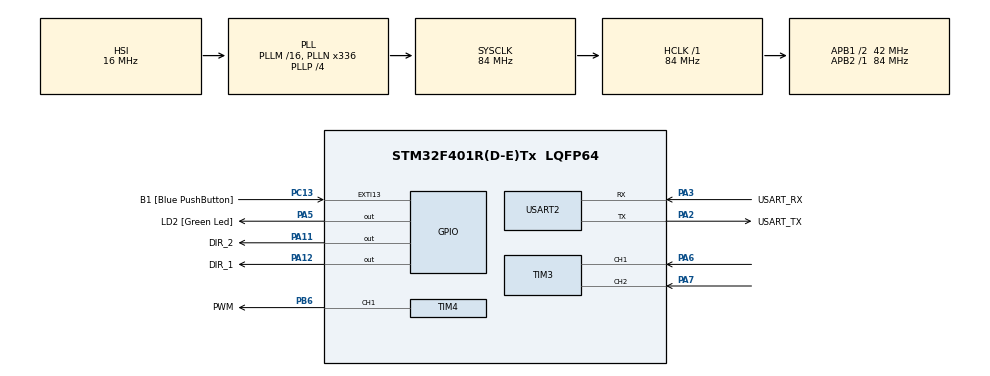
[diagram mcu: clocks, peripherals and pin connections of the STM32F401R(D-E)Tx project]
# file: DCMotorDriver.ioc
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Mcu.Family=STM32F4
Mcu.Name=STM32F401R(D-E)Tx
Mcu.Package=LQFP64
NVIC.PriorityGroup=NVIC_PRIORITYGROUP_0
PA11.GPIO_Label=DIR_2
PA11.Signal=GPIO_Output
PA12.GPIO_Label=DIR_1
PA12.Signal=GPIO_Output
PA13.GPIO_Label=TMS
PA13.Signal=SYS_JTMS-SWDIO
PA14.GPIO_Label=TCK
PA14.Signal=SYS_JTCK-SWCLK
PA2.GPIO_Label=USART_TX
PA2.GPIO_Mode=GPIO_MODE_AF_PP
PA2.GPIO_PuPd=GPIO_NOPULL
PA2.GPIO_Speed=GPIO_SPEED_FREQ_LOW
PA2.Mode=Asynchronous
PA2.Signal=USART2_TX
PA3.GPIO_Label=USART_RX
PA3.GPIO_Mode=GPIO_MODE_AF_PP
PA3.GPIO_PuPd=GPIO_NOPULL
PA3.GPIO_Speed=GPIO_SPEED_FREQ_LOW
PA3.Mode=Asynchronous
PA3.Signal=USART2_RX
PA5.GPIO_Label=LD2 [Green Led]
PA5.GPIO_Mode=GPIO_MODE_OUTPUT_PP
PA5.GPIO_PuPd=GPIO_NOPULL
PA5.GPIO_Speed=GPIO_SPEED_FREQ_LOW
PA5.Signal=GPIO_Output
PA6.Signal=S_TIM3_CH1
PA7.Signal=S_TIM3_CH2
PB3.GPIO_Label=SWO
PB3.Signal=SYS_JTDO-SWO
PB6.GPIO_Label=PWM
PB6.Signal=S_TIM4_CH1
PC13-ANTI_TAMP.GPIO_Label=B1 [Blue PushButton]
PC13-ANTI_TAMP.GPIO_ModeDefaultEXTI=GPIO_MODE_IT_FALLING
PC13-ANTI_TAMP.GPIO_PuPd=GPIO_NOPULL
PC13-ANTI_TAMP.Signal=GPXTI13
PC14-OSC32_IN.Signal=RCC_OSC32_IN
PC15-OSC32_OUT.Signal=RCC_OSC32_OUT
PH0\ -\ OSC_IN.Signal=RCC_OSC_IN
PH1\ -\ OSC_OUT.Signal=RCC_OSC_OUT
ProjectManager.HeapSize=0x200
ProjectManager.StackSize=0x400
ProjectManager.TargetToolchain=STM32CubeIDE
RCC.AHBFreq_Value=84000000
RCC.APB1CLKDivider=RCC_HCLK_DIV2
RCC.APB1Freq_Value=42000000
RCC.APB1TimFreq_Value=84000000
RCC.APB2Freq_Value=84000000
RCC.APB2TimFreq_Value=84000000
RCC.CortexFreq_Value=84000000
RCC.HCLKFreq_Value=84000000
RCC.HSE_VALUE=8000000
RCC.HSI_VALUE=16000000
RCC.LSE_VALUE=32768
RCC.PLLN=336
RCC.PLLP=RCC_PLLP_DIV4
RCC.PLLQ=7
RCC.SYSCLKFreq_VALUE=84000000
RCC.SYSCLKSource=RCC_SYSCLKSOURCE_PLLCLK
RCC.VCOOutputFreq_Value=336000000
SH.S_TIM3_CH1.0=TIM3_CH1,Encoder_Interface
SH.S_TIM3_CH2.0=TIM3_CH2,Encoder_Interface
SH.S_TIM4_CH1.0=TIM4_CH1,PWM Generation1 CH1
TIM4.Channel-PWM\ Generation1\ CH1=TIM_CHANNEL_1
TIM4.Period=4096
USART2.VirtualMode=VM_ASYNC
VP_TIM4_VS_ClockSourceINT.Mode=Internal
board=NUCLEO-F401RE

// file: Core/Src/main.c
/* USER CODE BEGIN Header */
/**
  ******************************************************************************
  * @file           : main.c
  * @brief          : Main program body
  ******************************************************************************
  * @attention
  *
  * Copyright (c) 2024 STMicroelectronics.
  * All rights reserved.
  *
  * This software is licensed under terms that can be found in the LICENSE file
  * in the root directory of this software component.
  * If no LICENSE file comes with this software, it is provided AS-IS.
  *
  ******************************************************************************
  */
/* USER CODE END Header */
#include "main.h"

/* USER CODE BEGIN Includes */
#include <stdio.h>
#include <string.h>
#include "motor.h"
#include "pid.h"
/* USER CODE END Includes */

TIM_HandleTypeDef htim3;
TIM_HandleTypeDef htim4;

UART_HandleTypeDef huart2;

void SystemClock_Config(void);
static void MX_GPIO_Init(void);
static void MX_TIM4_Init(void);
static void MX_USART2_UART_Init(void);
static void MX_TIM3_Init(void);

int main(void)
{

  /* MCU Configuration--------------------------------------------------------*/

  /* Reset of all peripherals, Initializes the Flash interface and the Systick. */
  HAL_Init();

  /* Configure the system clock */
  SystemClock_Config();

  /* Initialize all configured peripherals */
  MX_GPIO_Init();
  MX_TIM4_Init();
  MX_USART2_UART_Init();
  MX_TIM3_Init();
  /* USER CODE BEGIN 2 */
  HAL_TIM_PWM_Start(&htim4, TIM_CHANNEL_1);
  HAL_TIM_Encoder_Start(&htim3, TIM_CHANNEL_ALL);

  /* USER CODE END 2 */

  /* Infinite loop */
  /* USER CODE BEGIN WHILE */

  int pwm = 0;
  uint32_t prev_tick = HAL_GetTick();
  float speed_target = 360;
  float pos_target = 180;
  t_pid speed_pid, pos_pid;

  pid_init(&speed_pid, 10, 20, 0, 4095);
  pid_init(&pos_pid, 50, 0, 0, 720); // vmax = 720 deg/s

  HAL_Delay(10);

  while (1)
  {
	  char s[256],c;
	  float pos, speed;

	  // compute sampling interval
	  uint32_t current_tick = HAL_GetTick();
	  float delta_t = (current_tick - prev_tick) / 1000.0;
	  prev_tick = current_tick;

	  read_sensors(delta_t, &speed, &pos);

	  speed_target = pid_evaluate(&pos_pid, delta_t, pos_target, pos);
	  pwm = pid_evaluate(&speed_pid, delta_t, speed_target, speed);
	  set_pwm(pwm);

	  sprintf(s, "Delta_t = %f, PWM = %d, Count = %d, Speed = %f, Target Speed = %f, Pos = %f, Target Pos = %f\n\r",
			  delta_t, pwm, read_encoder(), speed, speed_target, pos, pos_target);
	  HAL_UART_Transmit(&huart2, (const uint8_t *)s, strlen(s),1000);

	  if (HAL_UART_Receive(&huart2, (uint8_t *)&c, 1, 1) == HAL_OK) {
		  switch (c) {
		  case '+':
			  //pwm += 50;
			  speed_target += 50;
			  break;
		  case '-':
			  speed_target -= 50;
			  //pwm-= 50;
			  break;
		  case ' ':
			  if (speed_target != 0)
				  speed_target = 0;
			  else
				  speed_target = 360;
			  break;
		  case 't':
			  if (pos_target != 0)
				  pos_target = 0;
			  else
				  pos_target = 180;
			  break;
		  }
	  }
    /* USER CODE END WHILE */

  }
}

void SystemClock_Config(void)
{
  RCC_OscInitTypeDef RCC_OscInitStruct = {0};
  RCC_ClkInitTypeDef RCC_ClkInitStruct = {0};

  /** Configure the main internal regulator output voltage
  */
  __HAL_RCC_PWR_CLK_ENABLE();
  __HAL_PWR_VOLTAGESCALING_CONFIG(PWR_REGULATOR_VOLTAGE_SCALE2);

  /** Initializes the RCC Oscillators according to the specified parameters
  * in the RCC_OscInitTypeDef structure.
  */
  RCC_OscInitStruct.OscillatorType = RCC_OSCILLATORTYPE_HSI;
  RCC_OscInitStruct.HSIState = RCC_HSI_ON;
  RCC_OscInitStruct.HSICalibrationValue = RCC_HSICALIBRATION_DEFAULT;
  RCC_OscInitStruct.PLL.PLLState = RCC_PLL_ON;
  RCC_OscInitStruct.PLL.PLLSource = RCC_PLLSOURCE_HSI;
  RCC_OscInitStruct.PLL.PLLM = 16;
  RCC_OscInitStruct.PLL.PLLN = 336;
  RCC_OscInitStruct.PLL.PLLP = RCC_PLLP_DIV4;
  RCC_OscInitStruct.PLL.PLLQ = 7;
  if (HAL_RCC_OscConfig(&RCC_OscInitStruct) != HAL_OK)
  {
    Error_Handler();
  }

  /** Initializes the CPU, AHB and APB buses clocks
  */
  RCC_ClkInitStruct.ClockType = RCC_CLOCKTYPE_HCLK|RCC_CLOCKTYPE_SYSCLK
                              |RCC_CLOCKTYPE_PCLK1|RCC_CLOCKTYPE_PCLK2;
  RCC_ClkInitStruct.SYSCLKSource = RCC_SYSCLKSOURCE_PLLCLK;
  RCC_ClkInitStruct.AHBCLKDivider = RCC_SYSCLK_DIV1;
  RCC_ClkInitStruct.APB1CLKDivider = RCC_HCLK_DIV2;
  RCC_ClkInitStruct.APB2CLKDivider = RCC_HCLK_DIV1;

  if (HAL_RCC_ClockConfig(&RCC_ClkInitStruct, FLASH_LATENCY_2) != HAL_OK)
  {
    Error_Handler();
  }
}

static void MX_TIM3_Init(void)
{

  TIM_Encoder_InitTypeDef sConfig = {0};
  TIM_MasterConfigTypeDef sMasterConfig = {0};

  htim3.Instance = TIM3;
  htim3.Init.Prescaler = 0;
  htim3.Init.CounterMode = TIM_COUNTERMODE_UP;
  htim3.Init.Period = 65535;
  htim3.Init.ClockDivision = TIM_CLOCKDIVISION_DIV1;
  htim3.Init.AutoReloadPreload = TIM_AUTORELOAD_PRELOAD_DISABLE;
  sConfig.EncoderMode = TIM_ENCODERMODE_TI1;
  sConfig.IC1Polarity = TIM_ICPOLARITY_RISING;
  sConfig.IC1Selection = TIM_ICSELECTION_DIRECTTI;
  sConfig.IC1Prescaler = TIM_ICPSC_DIV1;
  sConfig.IC1Filter = 0;
  sConfig.IC2Polarity = TIM_ICPOLARITY_RISING;
  sConfig.IC2Selection = TIM_ICSELECTION_DIRECTTI;
  sConfig.IC2Prescaler = TIM_ICPSC_DIV1;
  sConfig.IC2Filter = 0;
  if (HAL_TIM_Encoder_Init(&htim3, &sConfig) != HAL_OK)
  {
    Error_Handler();
  }
  sMasterConfig.MasterOutputTrigger = TIM_TRGO_RESET;
  sMasterConfig.MasterSlaveMode = TIM_MASTERSLAVEMODE_DISABLE;
  if (HAL_TIMEx_MasterConfigSynchronization(&htim3, &sMasterConfig) != HAL_OK)
  {
    Error_Handler();
  }

}

static void MX_TIM4_Init(void)
{

  TIM_ClockConfigTypeDef sClockSourceConfig = {0};
  TIM_MasterConfigTypeDef sMasterConfig = {0};
  TIM_OC_InitTypeDef sConfigOC = {0};

  htim4.Instance = TIM4;
  htim4.Init.Prescaler = 0;
  htim4.Init.CounterMode = TIM_COUNTERMODE_UP;
  htim4.Init.Period = 4096;
  htim4.Init.ClockDivision = TIM_CLOCKDIVISION_DIV1;
  htim4.Init.AutoReloadPreload = TIM_AUTORELOAD_PRELOAD_DISABLE;
  if (HAL_TIM_Base_Init(&htim4) != HAL_OK)
  {
    Error_Handler();
  }
  sClockSourceConfig.ClockSource = TIM_CLOCKSOURCE_INTERNAL;
  if (HAL_TIM_ConfigClockSource(&htim4, &sClockSourceConfig) != HAL_OK)
  {
    Error_Handler();
  }
  if (HAL_TIM_PWM_Init(&htim4) != HAL_OK)
  {
    Error_Handler();
  }
  sMasterConfig.MasterOutputTrigger = TIM_TRGO_RESET;
  sMasterConfig.MasterSlaveMode = TIM_MASTERSLAVEMODE_DISABLE;
  if (HAL_TIMEx_MasterConfigSynchronization(&htim4, &sMasterConfig) != HAL_OK)
  {
    Error_Handler();
  }
  sConfigOC.OCMode = TIM_OCMODE_PWM1;
  sConfigOC.Pulse = 0;
  sConfigOC.OCPolarity = TIM_OCPOLARITY_HIGH;
  sConfigOC.OCFastMode = TIM_OCFAST_DISABLE;
  if (HAL_TIM_PWM_ConfigChannel(&htim4, &sConfigOC, TIM_CHANNEL_1) != HAL_OK)
  {
    Error_Handler();
  }
  HAL_TIM_MspPostInit(&htim4);

}

static void MX_USART2_UART_Init(void)
{

  huart2.Instance = USART2;
  huart2.Init.BaudRate = 115200;
  huart2.Init.WordLength = UART_WORDLENGTH_8B;
  huart2.Init.StopBits = UART_STOPBITS_1;
  huart2.Init.Parity = UART_PARITY_NONE;
  huart2.Init.Mode = UART_MODE_TX_RX;
  huart2.Init.HwFlowCtl = UART_HWCONTROL_NONE;
  huart2.Init.OverSampling = UART_OVERSAMPLING_16;
  if (HAL_UART_Init(&huart2) != HAL_OK)
  {
    Error_Handler();
  }

}

static void MX_GPIO_Init(void)
{
  GPIO_InitTypeDef GPIO_InitStruct = {0};

  /* GPIO Ports Clock Enable */
  __HAL_RCC_GPIOC_CLK_ENABLE();
  __HAL_RCC_GPIOH_CLK_ENABLE();
  __HAL_RCC_GPIOA_CLK_ENABLE();
  __HAL_RCC_GPIOB_CLK_ENABLE();

  /*Configure GPIO pin Output Level */
  HAL_GPIO_WritePin(GPIOA, LD2_Pin|DIR_2_Pin|DIR_1_Pin, GPIO_PIN_RESET);

  /*Configure GPIO pin : B1_Pin */
  GPIO_InitStruct.Pin = B1_Pin;
  GPIO_InitStruct.Mode = GPIO_MODE_IT_FALLING;
  GPIO_InitStruct.Pull = GPIO_NOPULL;
  HAL_GPIO_Init(B1_GPIO_Port, &GPIO_InitStruct);

  /*Configure GPIO pins : LD2_Pin DIR_2_Pin DIR_1_Pin */
  GPIO_InitStruct.Pin = LD2_Pin|DIR_2_Pin|DIR_1_Pin;
  GPIO_InitStruct.Mode = GPIO_MODE_OUTPUT_PP;
  GPIO_InitStruct.Pull = GPIO_NOPULL;
  GPIO_InitStruct.Speed = GPIO_SPEED_FREQ_LOW;
  HAL_GPIO_Init(GPIOA, &GPIO_InitStruct);

}

void Error_Handler(void)
{
  __disable_irq();
  while (1)
  {
  }
}
